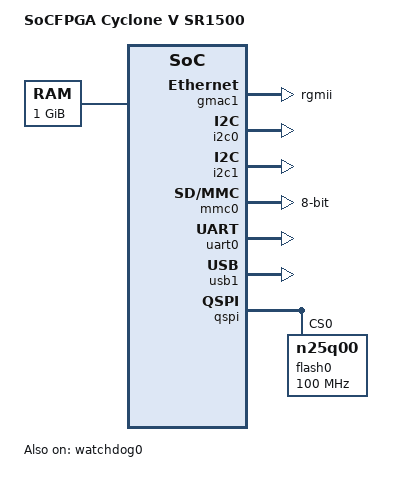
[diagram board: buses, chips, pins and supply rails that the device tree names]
// SPDX-License-Identifier: GPL-2.0+
/*
 * Copyright (C) 2015 Stefan Roese <sr@denx.de>
 */

#include "socfpga_cyclone5.dtsi"
#include "socfpga-common-u-boot.dtsi"

/ {
	model = "SoCFPGA Cyclone V SR1500";
	compatible = "anonymous,socfpga-sr1500", "altr,socfpga-cyclone5", "altr,socfpga";

	chosen {
		bootargs = "console=ttyS0,115200";
		stdout-path = "serial0:115200n8";
	};

	aliases {
		/*
		 * This allows the ethaddr uboot environment variable
		 * contents to be added to the gmac1 device tree blob.
		 */
		ethernet0 = &gmac1;
	};

	memory@0 {
		name = "memory";
		device_type = "memory";
		reg = <0x0 0x40000000>; /* 1GB */
	};
};

&gmac1 {
	status = "okay";
	phy-mode = "rgmii";
};

&gpio0 {
	status = "okay";
};

&gpio1 {
	status = "okay";
};

&gpio2 {
	status = "okay";
};

&porta {
	bank-name = "porta";
};

&portb {
	bank-name = "portb";
};

&portc {
	bank-name = "portc";
};

&i2c0 {
	status = "okay";
	speed-mode = <0>;
};

&i2c1 {
	status = "okay";
	speed-mode = <0>;
};

&mmc0 {
	status = "okay";
	bus-width = <8>;
	u-boot,dm-pre-reloc;
};

&uart0 {
	status = "okay";
	u-boot,dm-pre-reloc;
};

&usb1 {
	status = "okay";
};

&watchdog0 {
	status = "okay";
};

&qspi {
	status = "okay";
	u-boot,dm-pre-reloc;

	flash0: n25q00@0 {
		u-boot,dm-pre-reloc;
		#address-cells = <1>;
		#size-cells = <1>;
		compatible = "n25q00", "jedec,spi-nor";
		reg = <0>;      /* chip select */
		spi-max-frequency = <100000000>;
		m25p,fast-read;
		page-size = <256>;
		block-size = <16>; /* 2^16, 64KB */
		cdns,tshsl-ns = <50>;
		cdns,tsd2d-ns = <50>;
		cdns,tchsh-ns = <4>;
		cdns,tslch-ns = <4>;
	};
};
